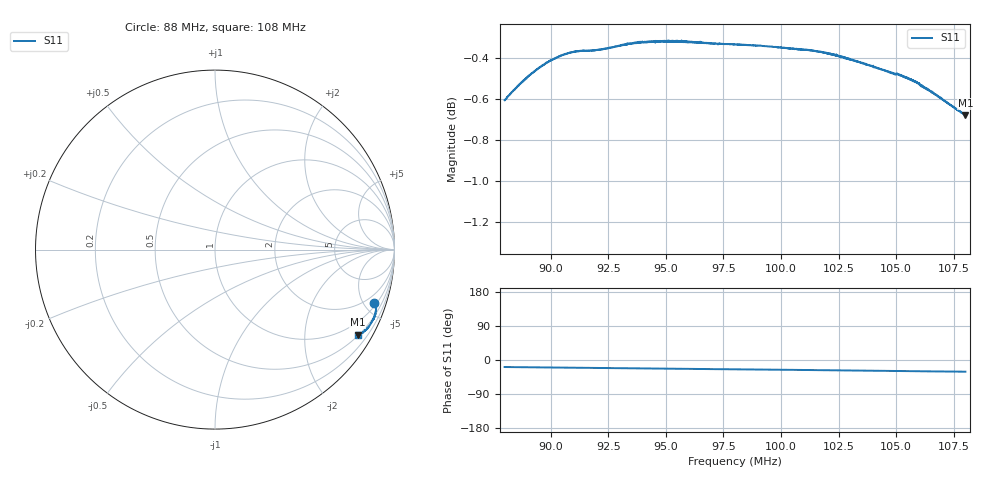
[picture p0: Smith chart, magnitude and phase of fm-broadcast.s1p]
! Calibrated averaged scanner-service zoom
# Hz S RI R 50
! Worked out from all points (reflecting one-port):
!   2001 points, 88 MHz to 108 MHz, reference 50 ohm
!   lowest |S11| = -0.7 dB at 108 MHz (marker M1), VSWR 25.59, Z = 27.1 - j177 ohm
!   phase of S11 starts at -19 deg and turns -12 deg over the sweep
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8.8e7  0.8843 -0.2965
8.812e7  0.8856 -0.2975
8.87e7  0.891 -0.3047
8.929e7  0.8949 -0.3125
8.99e7  0.8973 -0.3209
9.05e7  0.898 -0.3291
9.094e7  0.8975 -0.3351
9.142e7  0.8962 -0.3408
9.199e7  0.8946 -0.346
9.249e7  0.8941 -0.3503
9.3e7  0.8936 -0.3551
9.389e7  0.8922 -0.3641
9.55e7  0.8857 -0.3797
9.616e7  0.8831 -0.3856
9.8e7  0.8749 -0.4004
9.91e7  0.8698 -0.4096
1.005e8  0.8625 -0.4214
1.0114e8  0.8591 -0.4271
1.0176e8  0.855 -0.4326
1.03e8  0.845 -0.4434
1.0485e8  0.8286 -0.4577
1.0513e8  0.8269 -0.4596
1.055e8  0.8232 -0.4623
1.059e8  0.819 -0.4651
1.0611e8  0.816 -0.4669
1.0678e8  0.808 -0.4706
1.0762e8  0.7981 -0.4733
1.08e8  0.794 -0.4741
